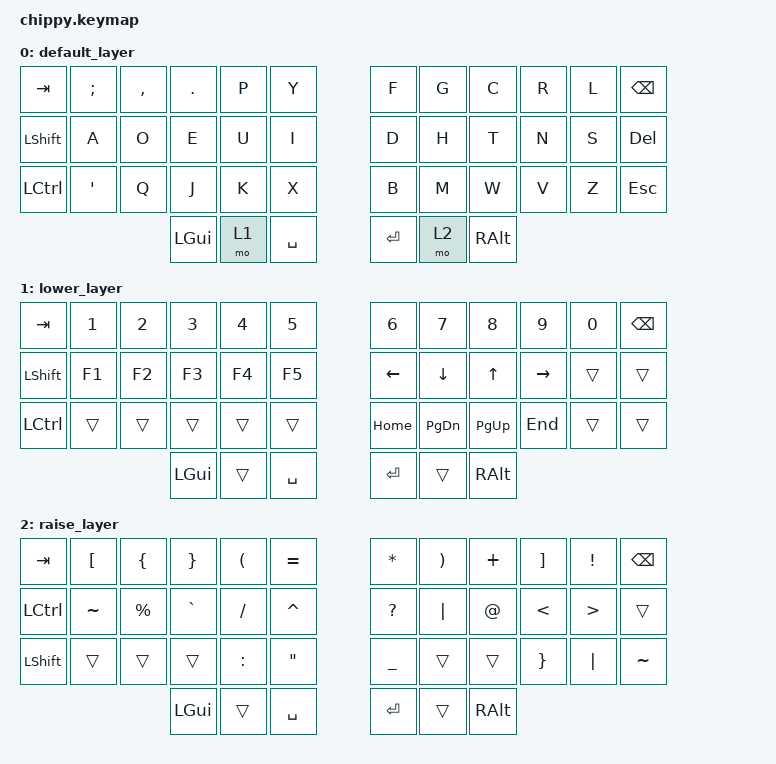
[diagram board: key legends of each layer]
/*
 * Copyright (c) 2020 The ZMK Contributors
 *
 * SPDX-License-Identifier: MIT
 */

#include <behaviors.dtsi>
#include <dt-bindings/zmk/keys.h>
#include <dt-bindings/zmk/bt.h>

/ {
        keymap {
                compatible = "zmk,keymap";

                default_layer {
// -----------------------------------------------------------------------------------------
// |  TAB  |  ;  |  ,  |  .  |  P  |  Y  |   |  F  |  G   |  C  |  R  |  L  | BKSP |
// | LSHFT |  A  |  O  |  E  |  U  |  I  |   |  D  |  H   |  T  |  N  |  S  |  DEL |
// | LCTRL |  '  |  Q  |  J  |  K  |  X  |   |  B  |  M   |  W  |  V  |  Z  | ESC  |
//                    | GUI | LWR | SPC |   | ENT | RSE  | ALT |
                        bindings = <
   &kp TAB  &kp SEMICOLON &kp COMMA &kp DOT &kp P &kp Y &kp F &kp G  &kp C &kp R &kp L &kp BSPC
   &kp LSHFT &kp A &kp O &kp E &kp U &kp I   &kp D &kp H  &kp T &kp N   &kp S &kp DEL
   &kp LCTRL &kp SINGLE_QUOTE &kp Q &kp J &kp K &kp X   &kp B &kp M  &kp W &kp V &kp Z &kp ESC
                  &kp LGUI &mo 1 &kp SPACE   &kp ENTER &mo 2 &kp RALT
                        >;
                };
                lower_layer {
// -----------------------------------------------------------------------------------------
// |  TAB |  1  |  2  |  3  |  4  |  5  |   |  6  |  7  |  8  |  9  |  0  | BKSP |
// |LSHIFT| F1  | F2  | F3  | F4  |  F5 |   | LFT | DWN |  UP | RGT |     |      |
// | LCTRL|     |     |     |     |     |   | HOME| PGDN| PGUP| END |     |      |
//                    | GUI |     | SPC |   | ENT |     | ALT |
                        bindings = <
   &kp TAB &kp N1 &kp N2 &kp N3 &kp N4 &kp N5    &kp N6   &kp N7   &kp N8 &kp N9 &kp N0 &kp BSPC
   &kp LSHIFT &kp F1 &kp F2 &kp F3 &kp F4 &kp F5 &kp LEFT &kp DOWN &kp UP &kp RIGHT &trans &trans
   &kp LCTRL  &trans  &trans &trans  &trans  &trans &kp HOME &kp PG_DN &kp PG_UP &kp END &trans &trans
                &kp LGUI     &trans       &kp SPACE      &kp ENTER &trans   &kp RALT
                        >;
                };

                raise_layer {
// -----------------------------------------------------------------------------------------
// |  TAB |  [  | {   |  }  |  (  |  =  |   |  *  |  )  |  +  |  ]  |  !  | BKSP |
// | CTRL |  ~  |  %  |  `  |  /  |  ^  |   |  ?  |  |  |  @  |  <  |  >  |      |
// | SHFT |     |     |     |  :  |  "  |   |  _  |     |     |     |     |      |
//                    | GUI |     | SPC |   | ENT |     | ALT |
                        bindings = <
   &kp  TAB  &kp LBKT &kp LBRC &kp RBRC &kp LPAR &kp EQUAL &kp STAR &kp RPAR  &kp PLUS &kp RBKT &kp EXCL &kp BSPC
   &kp LCTRL &kp TILDE  &kp PRCNT &kp GRAVE &kp FSLH &kp CARET   &kp QMARK &kp PIPE &kp AT &kp LT &kp GT &trans              
   &kp LSHFT &trans &trans &trans  &kp COLON &kp DQT  &kp UNDER &trans  &trans  &kp RBRC &kp PIPE &kp TILDE
                             &kp LGUI &trans   &kp SPACE   &kp RET   &trans    &kp RALT
                        >;
                };
        };
};
